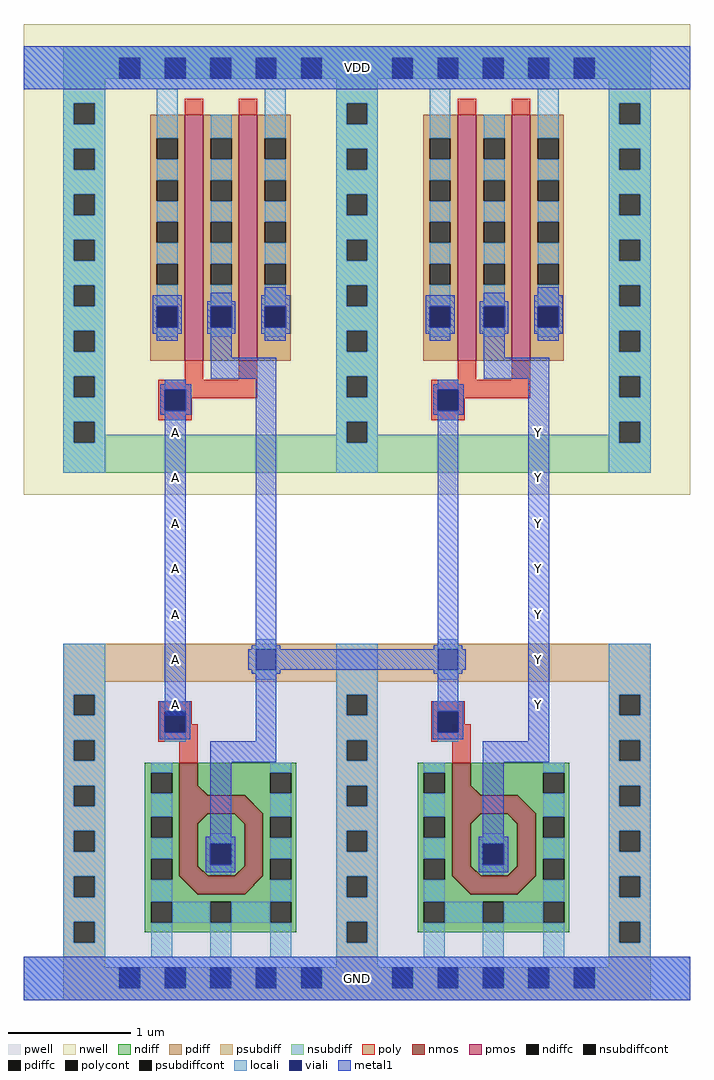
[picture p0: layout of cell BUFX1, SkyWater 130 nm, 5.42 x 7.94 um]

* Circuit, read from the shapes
.subckt BUFX1 Y A VDD GND
XM1 GND A n1 GND sky130_fd_pr__nfet_01v8 w=2.56 l=0.1487
XM2 GND n1 Y GND sky130_fd_pr__nfet_01v8 w=2.56 l=0.149
XM3 n1 A VDD VDD sky130_fd_pr__pfet_01v8 w=2 l=0.15 m=2
XM4 Y n1 VDD VDD sky130_fd_pr__pfet_01v8 w=2 l=0.15 m=2
.ends

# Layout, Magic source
magic
tech sky130A
magscale 1 2
<< nwell >>
rect 0 1586 1084 1588
rect 0 1552 11 1586
rect 0 1482 46 1552
rect 155 1499 189 1533
rect 0 822 11 1482
rect 1073 822 1084 1586
<< pwell >>
rect 0 2 64 70
rect 155 19 189 53
rect 1020 2 1084 70
rect 0 0 1084 2
<< psubdiff >>
rect 64 0 1020 2
<< nsubdiff >>
rect 64 1550 1020 1552
<< locali >>
rect 0 1482 1084 1552
rect 0 0 1084 70
<< metal1 >>
rect 0 1482 1084 1552
rect 229 907 263 941
rect 821 907 855 941
rect 229 833 263 867
rect 821 833 855 867
rect 229 759 263 793
rect 821 759 855 793
rect 229 685 263 719
rect 821 685 855 719
rect 229 611 263 645
rect 821 611 855 645
rect 229 537 263 571
rect 821 537 855 571
rect 229 463 263 497
rect 821 463 855 497
rect 0 0 1084 70
use bufx1  bufx1_0
transform 1 0 98 0 1 36
box -87 -34 975 1550
<< labels >>
rlabel metal1 821 463 855 497 1 Y
port 1 nsew signal output
rlabel metal1 821 537 855 571 1 Y
port 1 nsew signal output
rlabel metal1 821 611 855 645 1 Y
port 1 nsew signal output
rlabel metal1 821 685 855 719 1 Y
port 1 nsew signal output
rlabel metal1 821 759 855 793 1 Y
port 1 nsew signal output
rlabel metal1 821 833 855 867 1 Y
port 1 nsew signal output
rlabel metal1 821 907 855 941 1 Y
port 1 nsew signal output
rlabel metal1 229 463 263 497 1 A
port 2 nsew signal input
rlabel metal1 229 537 263 571 1 A
port 2 nsew signal input
rlabel metal1 229 611 263 645 1 A
port 2 nsew signal input
rlabel metal1 229 685 263 719 1 A
port 2 nsew signal input
rlabel metal1 229 759 263 793 1 A
port 2 nsew signal input
rlabel metal1 229 833 263 867 1 A
port 2 nsew signal input
rlabel metal1 229 907 263 941 1 A
port 2 nsew signal input
rlabel metal1 0 1482 1084 1552 1 VDD
port 3 nsew power bidirectional abutment
rlabel metal1 0 0 1084 70 1 GND
port 4 nsew ground bidirectional abutment
<< properties >>
string FIXED_BBOX 0 0 1084 1552
string LEFclass CORE
string LEFsite unitrh
string LEFsymmetry X Y
<< end >>

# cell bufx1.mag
magic
tech sky130A
magscale 1 2
<< metal1 >>
rect 315 501 569 535
use invx1_pcell  invx1_pcell_1
transform 1 0 444 0 1 0
box -87 -34 531 1550
use invx1_pcell  invx1_pcell_0
transform 1 0 0 0 1 0
box -87 -34 531 1550
use li1_M1_contact  li1_M1_contact_1
transform 1 0 592 0 1 518
box -53 -33 29 33
use li1_M1_contact  li1_M1_contact_0
transform -1 0 296 0 -1 518
box -53 -33 29 33
<< end >>

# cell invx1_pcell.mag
magic
tech sky130A
magscale 1 2
<< nwell >>
rect -87 786 531 1550
<< pwell >>
rect -34 -34 478 544
<< pdiffc >>
rect 118 1059 152 1093
rect 206 1059 240 1093
rect 294 1059 328 1093
<< psubdiff >>
rect 34 482 410 544
rect 34 -17 57 17
rect 91 -17 131 17
rect 165 -17 205 17
rect 239 -17 279 17
rect 313 -17 353 17
rect 387 -17 410 17
rect 34 -34 410 -17
<< nsubdiff >>
rect 34 1497 410 1514
rect 34 1463 57 1497
rect 91 1463 131 1497
rect 165 1463 205 1497
rect 239 1463 279 1497
rect 313 1463 353 1497
rect 387 1463 410 1497
rect 34 822 410 884
<< psubdiffcont >>
rect 57 -17 91 17
rect 131 -17 165 17
rect 205 -17 239 17
rect 279 -17 313 17
rect 353 -17 387 17
<< nsubdiffcont >>
rect 57 1463 91 1497
rect 131 1463 165 1497
rect 205 1463 239 1497
rect 279 1463 313 1497
rect 353 1463 387 1497
<< poly >>
rect 155 381 185 413
<< locali >>
rect -34 1497 478 1514
rect -34 1463 57 1497
rect 91 1463 131 1497
rect 165 1463 205 1497
rect 239 1463 279 1497
rect 313 1463 353 1497
rect 387 1463 478 1497
rect -34 1446 478 1463
rect 118 1093 152 1117
rect 118 1043 152 1059
rect 206 1093 240 1117
rect 206 1043 240 1059
rect 294 1093 328 1117
rect 294 1043 328 1059
rect 109 34 143 84
rect 205 34 239 90
rect 303 34 337 90
rect -34 17 466 34
rect -34 -17 57 17
rect 91 -17 131 17
rect 165 -17 205 17
rect 239 -17 279 17
rect 313 -17 353 17
rect 387 -17 466 17
rect -34 -34 466 -17
<< viali >>
rect 57 1463 91 1497
rect 131 1463 165 1497
rect 205 1463 239 1497
rect 279 1463 313 1497
rect 353 1463 387 1497
rect 118 1059 152 1093
rect 206 1059 240 1093
rect 294 1059 328 1093
rect 131 923 165 957
rect 131 400 165 434
rect 205 184 239 218
rect 57 -17 91 17
rect 131 -17 165 17
rect 205 -17 239 17
rect 279 -17 313 17
rect 353 -17 387 17
<< metal1 >>
rect -34 1497 478 1514
rect -34 1463 57 1497
rect 91 1463 131 1497
rect 165 1463 205 1497
rect 239 1463 279 1497
rect 313 1463 353 1497
rect 387 1463 478 1497
rect -34 1446 478 1463
rect 112 1093 159 1111
rect 206 1101 240 1115
rect 294 1111 328 1124
rect 112 1059 118 1093
rect 152 1059 159 1093
rect 112 1048 159 1059
rect 200 1093 246 1101
rect 200 1059 206 1093
rect 240 1059 246 1093
rect 200 1048 246 1059
rect 288 1093 335 1111
rect 288 1059 294 1093
rect 328 1059 335 1093
rect 288 1048 335 1059
rect 118 1037 152 1048
rect 206 1009 240 1048
rect 294 1037 328 1048
rect 206 975 313 1009
rect 131 966 165 973
rect 124 957 174 966
rect 124 923 131 957
rect 165 923 174 957
rect 124 916 174 923
rect 131 450 165 916
rect 123 434 173 450
rect 123 400 131 434
rect 165 400 173 434
rect 123 388 173 400
rect 279 385 313 975
rect 205 351 313 385
rect 205 230 239 351
rect 198 218 246 230
rect 198 184 205 218
rect 239 184 246 218
rect 198 172 246 184
rect -34 17 478 34
rect -34 -17 57 17
rect 91 -17 131 17
rect 165 -17 205 17
rect 239 -17 279 17
rect 313 -17 353 17
rect 387 -17 478 17
rect -34 -34 478 -17
use diff_ring_side  diff_ring_side_0
transform 1 0 444 0 1 0
box -87 -34 87 1550
use diff_ring_side  diff_ring_side_1
transform 1 0 0 0 1 0
box -87 -34 87 1550
use nmos_top  nmos_top_0
transform -1 0 345 0 1 74
box 0 0 246 308
use pmos2  pmos2_0
transform 1 0 20 0 1 1404
box 52 -461 352 42
use poly_li1_contact  poly_li1_contact_0
transform 0 1 149 -1 0 941
box -32 -28 34 26
use poly_li1_contact  poly_li1_contact_1
transform 0 -1 147 1 0 416
box -32 -28 34 26
<< end >>

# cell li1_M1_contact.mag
magic
tech sky130A
magscale 1 2
<< locali >>
rect -17 17 17 33
rect -17 -33 17 -17
<< viali >>
rect -17 -17 17 17
<< metal1 >>
rect -23 17 23 23
rect -53 -17 -17 17
rect 17 -17 29 17
rect -23 -23 23 -17
<< end >>

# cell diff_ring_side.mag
magic
tech sky130A
magscale 1 2
<< nwell >>
rect -87 786 87 1550
<< pwell >>
rect -34 -34 34 544
<< psubdiff >>
rect -34 461 34 544
rect -34 427 -17 461
rect 17 427 34 461
rect -34 387 34 427
rect -34 353 -17 387
rect 17 353 34 387
rect -34 313 34 353
rect -34 279 -17 313
rect 17 279 34 313
rect -34 239 34 279
rect -34 205 -17 239
rect 17 205 34 239
rect -34 165 34 205
rect -34 131 -17 165
rect 17 131 34 165
rect -34 91 34 131
rect -34 57 -17 91
rect 17 57 34 91
rect -34 -34 34 57
<< nsubdiff >>
rect -34 1423 34 1514
rect -34 1389 -17 1423
rect 17 1389 34 1423
rect -34 1349 34 1389
rect -34 1315 -17 1349
rect 17 1315 34 1349
rect -34 1275 34 1315
rect -34 1241 -17 1275
rect 17 1241 34 1275
rect -34 1201 34 1241
rect -34 1167 -17 1201
rect 17 1167 34 1201
rect -34 1127 34 1167
rect -34 1093 -17 1127
rect 17 1093 34 1127
rect -34 1053 34 1093
rect -34 1019 -17 1053
rect 17 1019 34 1053
rect -34 979 34 1019
rect -34 945 -17 979
rect 17 945 34 979
rect -34 905 34 945
rect -34 871 -17 905
rect 17 871 34 905
rect -34 822 34 871
<< psubdiffcont >>
rect -17 427 17 461
rect -17 353 17 387
rect -17 279 17 313
rect -17 205 17 239
rect -17 131 17 165
rect -17 57 17 91
<< nsubdiffcont >>
rect -17 1389 17 1423
rect -17 1315 17 1349
rect -17 1241 17 1275
rect -17 1167 17 1201
rect -17 1093 17 1127
rect -17 1019 17 1053
rect -17 945 17 979
rect -17 871 17 905
<< locali >>
rect -34 1423 34 1514
rect -34 1389 -17 1423
rect 17 1389 34 1423
rect -34 1349 34 1389
rect -34 1315 -17 1349
rect 17 1315 34 1349
rect -34 1275 34 1315
rect -34 1241 -17 1275
rect 17 1241 34 1275
rect -34 1201 34 1241
rect -34 1167 -17 1201
rect 17 1167 34 1201
rect -34 1127 34 1167
rect -34 1093 -17 1127
rect 17 1093 34 1127
rect -34 1053 34 1093
rect -34 1019 -17 1053
rect 17 1019 34 1053
rect -34 979 34 1019
rect -34 945 -17 979
rect 17 945 34 979
rect -34 905 34 945
rect -34 871 -17 905
rect 17 871 34 905
rect -34 822 34 871
rect -34 461 34 544
rect -34 427 -17 461
rect 17 427 34 461
rect -34 387 34 427
rect -34 353 -17 387
rect 17 353 34 387
rect -34 313 34 353
rect -34 279 -17 313
rect 17 279 34 313
rect -34 239 34 279
rect -34 205 -17 239
rect 17 205 34 239
rect -34 165 34 205
rect -34 131 -17 165
rect 17 131 34 165
rect -34 91 34 131
rect -34 57 -17 91
rect 17 57 34 91
rect -34 -34 34 57
<< metal1 >>
rect -34 1446 34 1514
rect -34 -34 34 34
<< end >>

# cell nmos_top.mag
magic
tech sky130
magscale 1 2
<< nmos >>
tri 144 223 160 239 se
rect 160 223 190 276
tri 54 193 84 223 se
rect 84 193 190 223
rect 54 92 84 193
tri 84 177 100 193 nw
tri 144 177 160 193 ne
tri 84 92 100 108 sw
tri 144 92 160 108 se
rect 160 92 190 193
tri 54 62 84 92 ne
rect 84 62 160 92
tri 160 62 190 92 nw
<< ndiff >>
rect 0 260 160 276
rect 0 226 8 260
rect 42 239 160 260
rect 42 226 144 239
rect 0 223 144 226
tri 144 223 160 239 nw
rect 190 260 246 276
rect 190 226 202 260
rect 236 226 246 260
rect 0 188 54 223
tri 54 193 84 223 nw
rect 0 154 8 188
rect 42 154 54 188
rect 0 120 54 154
rect 0 86 8 120
rect 42 86 54 120
tri 84 177 100 193 se
rect 100 177 144 193
tri 144 177 160 193 sw
rect 84 144 160 177
rect 84 110 106 144
rect 140 110 160 144
rect 84 108 160 110
tri 84 92 100 108 ne
rect 100 92 144 108
tri 144 92 160 108 nw
rect 190 188 246 226
rect 190 154 202 188
rect 236 154 246 188
rect 190 120 246 154
rect 0 62 54 86
tri 54 62 84 92 sw
tri 160 62 190 92 se
rect 190 86 202 120
rect 236 86 246 120
rect 190 62 246 86
rect 0 50 246 62
rect 0 16 8 50
rect 42 16 106 50
rect 140 16 202 50
rect 236 16 246 50
rect 0 0 246 16
<< ndiffc >>
rect 8 226 42 260
rect 202 226 236 260
rect 8 154 42 188
rect 8 86 42 120
rect 106 110 140 144
rect 202 154 236 188
rect 202 86 236 120
rect 8 16 42 50
rect 106 16 140 50
rect 202 16 236 50
<< poly >>
rect 160 276 190 308
<< locali >>
rect 8 260 42 276
rect 8 188 42 226
rect 202 260 236 276
rect 202 188 236 226
rect 8 120 42 154
rect 106 144 140 161
rect 106 94 140 110
rect 202 120 236 154
rect 8 50 42 86
rect 202 50 236 86
rect 42 16 106 50
rect 140 16 202 50
rect 8 0 42 16
rect 202 0 236 16
<< end >>

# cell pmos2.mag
magic
tech sky130A
magscale 1 2
<< nwell >>
rect 52 -436 352 36
<< pmos >>
rect 144 -400 174 0
rect 232 -400 262 0
<< pdiff >>
rect 88 -38 144 0
rect 88 -72 98 -38
rect 132 -72 144 -38
rect 88 -106 144 -72
rect 88 -140 98 -106
rect 132 -140 144 -106
rect 88 -174 144 -140
rect 88 -208 98 -174
rect 132 -208 144 -174
rect 88 -242 144 -208
rect 88 -276 98 -242
rect 132 -276 144 -242
rect 88 -400 144 -276
rect 174 -38 232 0
rect 174 -72 186 -38
rect 220 -72 232 -38
rect 174 -106 232 -72
rect 174 -140 186 -106
rect 220 -140 232 -106
rect 174 -174 232 -140
rect 174 -208 186 -174
rect 220 -208 232 -174
rect 174 -242 232 -208
rect 174 -276 186 -242
rect 220 -276 232 -242
rect 174 -400 232 -276
rect 262 -38 316 0
rect 262 -72 274 -38
rect 308 -72 316 -38
rect 262 -106 316 -72
rect 262 -140 274 -106
rect 308 -140 316 -106
rect 262 -174 316 -140
rect 262 -208 274 -174
rect 308 -208 316 -174
rect 262 -242 316 -208
rect 262 -276 274 -242
rect 308 -276 316 -242
rect 262 -400 316 -276
<< pdiffc >>
rect 98 -72 132 -38
rect 98 -140 132 -106
rect 98 -208 132 -174
rect 98 -276 132 -242
rect 186 -72 220 -38
rect 186 -140 220 -106
rect 186 -208 220 -174
rect 186 -276 220 -242
rect 274 -72 308 -38
rect 274 -140 308 -106
rect 274 -208 308 -174
rect 274 -276 308 -242
<< poly >>
rect 144 0 174 26
rect 232 0 262 26
rect 144 -431 174 -400
rect 232 -431 262 -400
rect 144 -461 262 -431
<< locali >>
rect 98 -38 132 42
rect 98 -106 132 -72
rect 98 -174 132 -140
rect 98 -242 132 -208
rect 98 -293 132 -276
rect 186 -38 220 0
rect 186 -106 220 -72
rect 186 -174 220 -140
rect 186 -242 220 -208
rect 186 -293 220 -276
rect 274 -38 308 42
rect 274 -106 308 -72
rect 274 -174 308 -140
rect 274 -242 308 -208
rect 274 -293 308 -276
<< end >>

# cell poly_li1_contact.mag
magic
tech sky130
<< poly >>
rect -16 8 17 13
rect -16 -9 -8 8
rect 9 -9 17 8
rect -16 -14 17 -9
<< polycont >>
rect -8 -9 9 8
<< locali >>
rect -16 -9 -8 8
rect 9 -9 17 8
<< end >>
